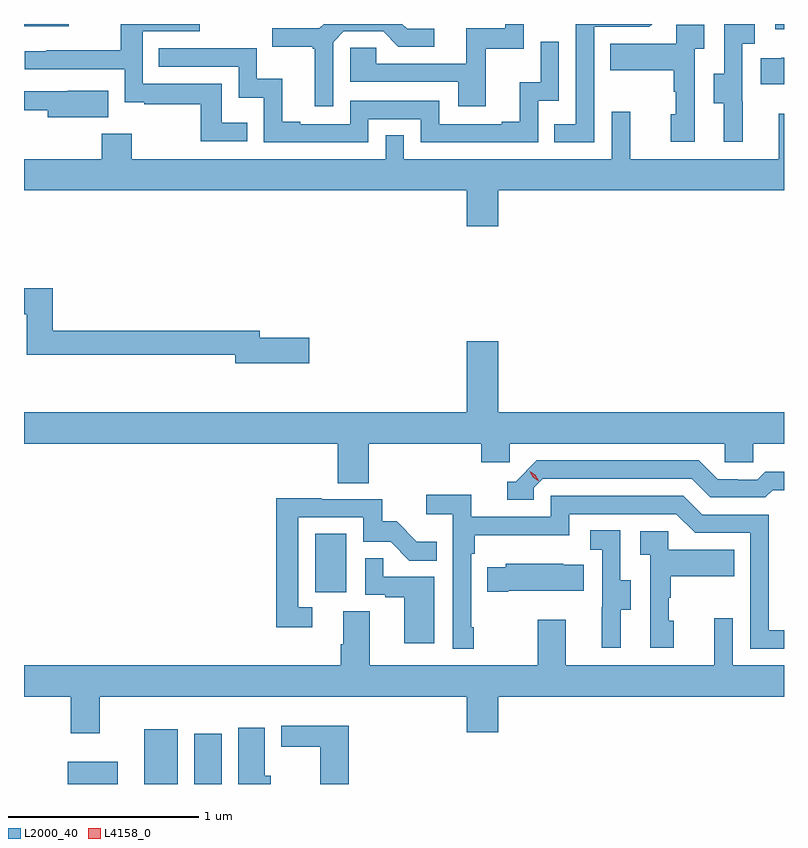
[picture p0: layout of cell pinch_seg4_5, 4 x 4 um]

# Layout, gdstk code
import gdstk
lib = gdstk.Library(unit=1e-6, precision=1e-09)
def R(c, l, rs):  # rectangles x0, y0, x1, y1
    for r in rs: c.add(gdstk.rectangle(r[:2], r[2:], *l))
def P(c, l, *ps):  # polygons
    for p in ps: c.add(gdstk.Polygon(p, *l))
L2000_40 = (2000, 40)
L4158_0 = (4158, 0)

pinch_seg4_5 = lib.new_cell('pinch_seg4_5')
R(pinch_seg4_5, L2000_40, [(1097.972,826.996,1098.235,827.113), (1098.374,826.996,1098.55,827.284), (1098.638,826.996,1098.781,827.26), (1099.274,828.006,1099.438,828.313), (1101.696,830.969,1101.741,830.996), (1097.741,830.984,1097.977,830.996)])
P(pinch_seg4_5, L2000_40, [(1099.368,830.901),(1099.425,830.958),(1099.631,830.958),(1099.712,830.877),(1099.9,830.877),(1099.9,830.97),(1099.758,830.97),(1099.732,830.996),(1099.319,830.996),(1099.296,830.973),(1099.047,830.973),(1099.047,830.876),(1099.26,830.876),(1099.26,830.865),(1099.271,830.865),(1099.271,830.562),(1099.368,830.562)],
  [(1098.917,830.476),(1098.783,830.476),(1098.783,830.682),(1098.366,830.682),(1098.366,830.958),(1098.667,830.958),(1098.667,830.996),(1098.25,830.996),(1098.25,830.858),(1097.857,830.858),(1097.857,830.853),(1097.745,830.853),(1097.745,830.757),(1098.27,830.757),(1098.27,830.585),(1098.373,830.585),(1098.373,830.574),(1098.672,830.574),(1098.672,830.379),(1098.917,830.379)],
  [(1101.524,830.589),(1101.522,830.589),(1101.522,830.893),(1101.586,830.893),(1101.586,830.996),(1101.426,830.996),(1101.426,830.733),(1101.371,830.733),(1101.371,830.578),(1101.425,830.578),(1101.425,830.376),(1101.524,830.376)],
  [(1100.742,830.982),(1101.033,830.982),(1101.047,830.996),(1100.646,830.996),(1100.646,830.469),(1100.533,830.469),(1100.533,830.373),(1100.742,830.373)],
  [(1100.171,830.865),(1100.37,830.865),(1100.37,830.996),(1100.274,830.996),(1100.274,830.973),(1100.069,830.973),(1100.069,830.787),(1099.595,830.787),(1099.595,830.871),(1099.458,830.871),(1099.458,830.691),(1100.027,830.691),(1100.027,830.562),(1100.171,830.562)],
  [(1101.27,830.867),(1101.322,830.867),(1101.322,830.991),(1101.174,830.991),(1101.174,830.893),(1100.827,830.893),(1100.827,830.753),(1101.162,830.753),(1101.162,830.639),(1101.172,830.639),(1101.172,830.52),(1101.146,830.52),(1101.146,830.376),(1101.27,830.376)],
  [(1099.554,830.496),(1099.83,830.496),(1099.83,830.373),(1100.448,830.373),(1100.448,830.592),(1100.556,830.592),(1100.556,830.902),(1100.46,830.902),(1100.46,830.69),(1100.351,830.69),(1100.351,830.482),(1100.255,830.482),(1100.255,830.469),(1099.926,830.469),(1099.926,830.592),(1099.458,830.592),(1099.458,830.469),(1099.195,830.469),(1099.195,830.482),(1099.099,830.482),(1099.099,830.707),(1098.966,830.707),(1098.966,830.868),(1098.451,830.868),(1098.451,830.772),(1098.87,830.772),(1098.87,830.609),(1099.002,830.609),(1099.002,830.373),(1099.554,830.373)],
  [(1101.741,830.818),(1101.727,830.818),(1101.727,830.815),(1101.619,830.815),(1101.619,830.678),(1101.741,830.678)],
  [(1098.185,830.644),(1097.971,830.644),(1097.971,830.643),(1097.741,830.643),(1097.741,830.542),(1097.867,830.542),(1097.867,830.504),(1098.185,830.504)],
  [(1100.236,830.12),(1101.741,830.12),(1101.741,830.524),(1101.713,830.524),(1101.713,830.284),(1100.933,830.284),(1100.933,830.533),(1100.835,830.533),(1100.835,830.284),(1099.74,830.284),(1099.74,830.411),(1099.644,830.411),(1099.644,830.284),(1098.309,830.284),(1098.309,830.419),(1098.149,830.419),(1098.149,830.284),(1097.741,830.284),(1097.741,830.12),(1100.072,830.12),(1100.072,829.932),(1100.236,829.932)],
  [(1099.243,829.346),(1098.982,829.346),(1098.982,829.382),(1097.891,829.382),(1097.891,829.604),(1097.741,829.604),(1097.741,829.468),(1097.755,829.468),(1097.755,829.254),(1098.854,829.254),(1098.854,829.211),(1099.243,829.211)],
  [(1099.556,828.788),(1100.147,828.788),(1100.147,828.69),(1100.298,828.69),(1100.298,828.788),(1101.429,828.788),(1101.429,828.69),(1101.579,828.69),(1101.579,828.788),(1101.741,828.788),(1101.741,828.952),(1100.236,828.952),(1100.236,829.327),(1100.072,829.327),(1100.072,828.952),(1097.741,828.952),(1097.741,828.788),(1099.391,828.788),(1099.391,828.58),(1099.556,828.58)],
  [(1100.424,828.555),(1100.472,828.603),(1101.255,828.603),(1101.354,828.504),(1101.643,828.504),(1101.682,828.543),(1101.741,828.543),(1101.741,828.64),(1101.643,828.64),(1101.601,828.597),(1101.498,828.597),(1101.498,828.6),(1101.391,828.6),(1101.292,828.699),(1100.439,828.699),(1100.328,828.588),(1100.285,828.588),(1100.285,828.492),(1100.424,828.492)],
  [(1100.107,827.821),(1100.094,827.821),(1100.094,828.209),(1100.114,828.209),(1100.114,828.305),(1100.61,828.305),(1100.61,828.417),(1101.174,828.417),(1101.273,828.318),(1101.564,828.318),(1101.564,827.709),(1101.741,827.709),(1101.741,827.805),(1101.66,827.805),(1101.66,828.414),(1101.31,828.414),(1101.211,828.513),(1100.514,828.513),(1100.514,828.402),(1100.096,828.402),(1100.096,828.518),(1099.857,828.518),(1099.857,828.416),(1099.998,828.416),(1099.998,827.709),(1100.107,827.709)],
  [(1099.258,827.925),(1099.185,827.925),(1099.185,828.399),(1099.527,828.399),(1099.527,828.27),(1099.671,828.27),(1099.769,828.172),(1099.913,828.172),(1099.913,828.271),(1099.809,828.271),(1099.702,828.378),(1099.626,828.378),(1099.626,828.495),(1099.307,828.495),(1099.307,828.5),(1099.069,828.5),(1099.069,827.82),(1099.258,827.82)],
  [(1100.881,827.914),(1100.935,827.914),(1100.935,828.069),(1100.88,828.069),(1100.88,828.332),(1100.721,828.332),(1100.721,828.229),(1100.784,828.229),(1100.784,827.925),(1100.783,827.925),(1100.783,827.712),(1100.881,827.712)],
  [(1101.16,827.856),(1101.135,827.856),(1101.135,827.975),(1101.145,827.975),(1101.145,828.089),(1101.479,828.089),(1101.479,828.229),(1101.132,828.229),(1101.132,828.327),(1100.985,828.327),(1100.985,828.203),(1101.036,828.203),(1101.036,827.712),(1101.16,827.712)],
  [(1099.9,828.087),(1099.631,828.087),(1099.631,828.185),(1099.536,828.185),(1099.536,827.991),(1099.643,827.991),(1099.643,827.979),(1099.742,827.979),(1099.742,827.736),(1099.9,827.736)],
  [(1100.29,828.014),(1100.687,828.014),(1100.687,828.151),(1100.579,828.151),(1100.579,828.154),(1100.277,828.154),(1100.277,828.136),(1100.179,828.136),(1100.179,828.007),(1100.29,828.007)],
  [(1098.139,827.456),(1100.072,827.456),(1100.072,827.268),(1100.236,827.268),(1100.236,827.456),(1101.741,827.456),(1101.741,827.62),(1101.471,827.62),(1101.471,827.869),(1101.374,827.869),(1101.374,827.62),(1100.593,827.62),(1100.593,827.86),(1100.446,827.86),(1100.446,827.62),(1099.561,827.62),(1099.561,827.906),(1099.421,827.906),(1099.421,827.732),(1099.409,827.732),(1099.409,827.62),(1097.741,827.62),(1097.741,827.456),(1097.987,827.456),(1097.987,827.262),(1098.139,827.262)],
  [(1099.451,827.302),(1099.095,827.302),(1099.095,827.193),(1099.3,827.193),(1099.3,826.996),(1099.451,826.996)],
  [(1099.039,827.04),(1099.009,827.04),(1099.009,827.293),(1098.869,827.293),(1098.869,826.996),(1099.039,826.996)])
P(pinch_seg4_5, L4158_0, [(1100.449,828.59),(1100.419,828.61),(1100.402,828.642),(1100.402,828.642),(1100.403,828.642),(1100.433,828.623),(1100.45,828.591),(1100.45,828.59)])

lib.write_gds('pinch_seg4_5.gds')
